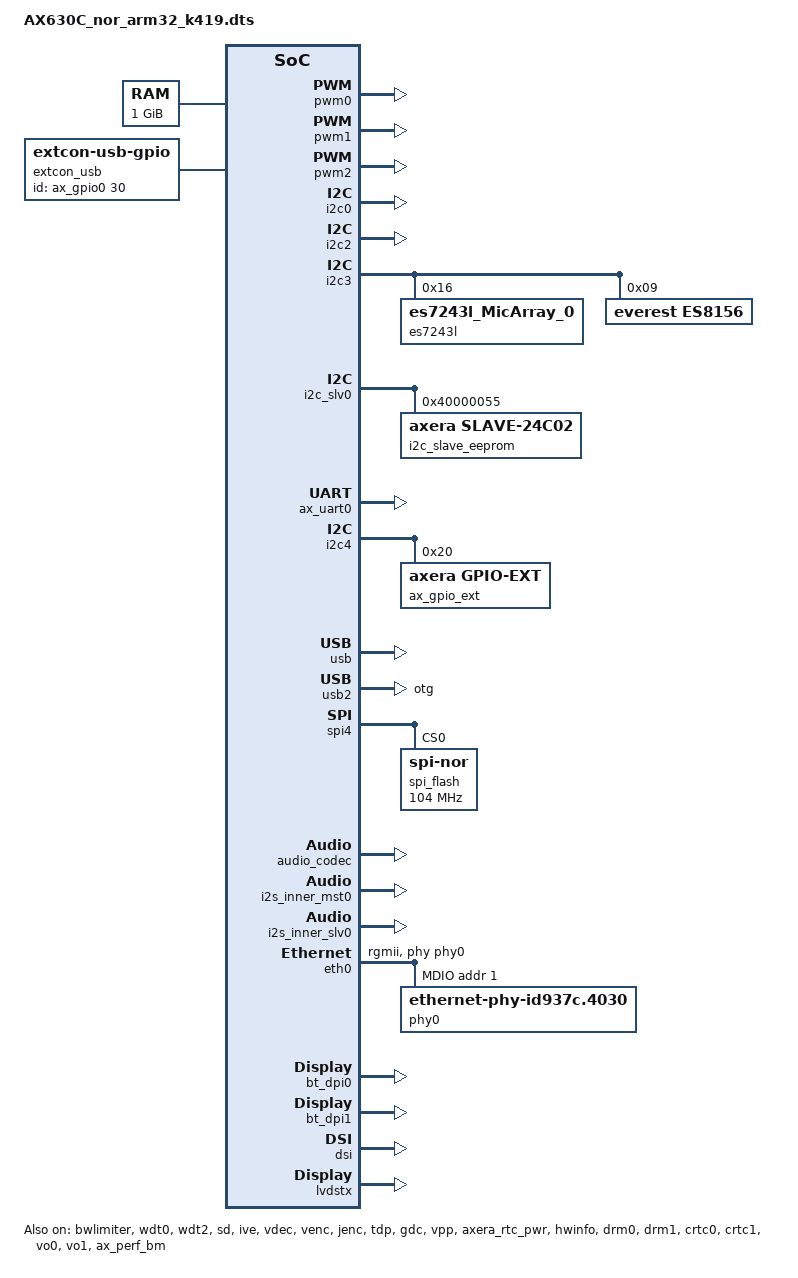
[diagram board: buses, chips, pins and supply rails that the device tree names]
// SPDX-License-Identifier: GPL-2.0
/**************************************************************************************************
 *
 * Copyright (c) 2019-2024 Axera Semiconductor Co., Ltd. All Rights Reserved.
 *
 * This dts file is the property of Axera Semiconductor Co., Ltd. and
 * may not be copied or distributed in any isomorphic form without the prior
 * written consent of Axera Semiconductor Co., Ltd.
 *
 **************************************************************************************************/

/dts-v1/;
#include "AX620E.dtsi"
/ {
	memory@40000000 {
		device_type = "memory";
		reg = <0x0 0x40000000 0x0 0x40000000>;
	};
	reserved-memory {
		#address-cells = <2>;
		#size-cells = <2>;
		ranges;
		ramoops_mem@48000000 {
			compatible = "ramoops";
			reg = <0x0 0x48000000 0x0 0xf0000>;
			record-size = <0x40000>;
			console-size = <0x80000>;
			ftrace-size = <0x20000>;
		};
		axera_memory_dump@0 {
			compatible = "axera_memory_dump";
			reg = <0x0 0x480f0000 0x0 0x3000>;
			dump_ranges = <0x0 0x40000000 0x0 0x80000000>;
			no-map;
		};
	#ifdef AX630C_DDR4_RETRAIN
	asdasd
		axera_ddr_retrain@0 {
			compatible = "axera_ddr_retrain";
			reg = <0x0 0x40000000 0x0 0x1000>;
		};
	#endif
	};

	chosen {
		bootargs = BOOTARGS;
	};

	sound {
		status = "okay";
		compatible = "simple-audio-card";
		simple-audio-card,name = "Axera Audio";
		simple-audio-card,widgets =
			"Microphone", "Mic Jack";
		simple-audio-card,routing =
			"AMIC", "Mic Jack";
		#address-cells = <1>;
		#size-cells = <0>;
	/*	simple-audio-card,dai-link@0 {
			format = "i2s";
			cpu {
				sound-dai = <&i2s_mst0>;
			};
			codec {
				sound-dai = <&es7243l>;
				system-clock-frequency = <12288000>;
			};
		};
		simple-audio-card,dai-link@1 {
			format = "i2s";
			cpu {
				sound-dai = <&i2s_mst0>;
			};
			codec {
				sound-dai = <&es8156>;
				system-clock-frequency = <12288000>;
			};
		};
		simple-audio-card,dai-link@0 {
			format = "i2s";
			bitclock-master = <&codec_m2>;
			frame-master = <&codec_m2>;
			cpu {
				sound-dai = <&i2s_slv0>;
			};
			codec_m2: codec {
				sound-dai = <&es7243l>;
				system-clock-frequency = <12288000>;
			};
		};
		simple-audio-card,dai-link@1 {
			format = "i2s";
			bitclock-master = <&codec_m3>;
			frame-master = <&codec_m3>;
			cpu {
				sound-dai = <&i2s_slv0>;
			};
			codec_m3: codec {
				sound-dai = <&es8156>;
				system-clock-frequency = <12288000>;
			};
		};
		simple-audio-card,dai-link@0 {
			format = "dsp_b";
			cpu {
				sound-dai = <&i2s_tdm_mst0>;
				dai-tdm-slot-num = <2>;
				dai-tdm-slot-width = <32>;
				dai-tdm-slot-rx-mask = <1 1>;
			};
			codec {
				sound-dai = <&es7243l>;
				system-clock-frequency = <12288000>;
			};
		};
		simple-audio-card,dai-link@0 {
			format = "dsp_b";
			bitclock-master = <&codec_m5>;
			frame-master = <&codec_m5>;
			cpu {
				sound-dai = <&i2s_tdm_slv0>;
				dai-tdm-slot-num = <2>;
				dai-tdm-slot-width = <32>;
				dai-tdm-slot-rx-mask = <1 1>;
			};
			codec_m5: codec {
				sound-dai = <&es7243l>;
				system-clock-frequency = <12288000>;
			};
		};*/
		simple-audio-card,dai-link@0 {
			format = "i2s";
			bitclock-master = <&codec_m6>;
			frame-master = <&codec_m6>;
			capture-only;
			cpu {
				sound-dai = <&i2s_inner_slv0>;
			};
			codec_m6: codec {
				sound-dai = <&audio_codec>;
				system-clock-frequency = <12288000>;
			};
		};
		simple-audio-card,dai-link@1 {
			format = "i2s";
			playback-only;
			cpu {
				sound-dai = <&i2s_inner_mst0>;
			};
			codec {
				sound-dai = <&audio_codec>;
				system-clock-frequency = <12288000>;
			};
		};
	};

	vfb0: vfb@0 {
		compatible = "axera,vfb";
		id = <0>;
		width = <1920>;
		height = <1080>;
		bpp = <32>;
		buf-num = <2>;
		status = "okay";
	};

	vfb1: vfb@1 {
		compatible = "axera,vfb";
		id = <1>;
		width = <1920>;
		height = <1080>;
		bpp = <32>;
		buf-num = <2>;
		status = "okay";
	};

	vfb2: vfb@2 {
		compatible = "axera,vfb";
		id = <2>;
		width = <64>;
		height = <64>;
		bpp = <32>;
		buf-num = <1>;
		cursor;
		status = "okay";
	};

	axera_logctl {
		compatible = "axera,logctl";
		config = "/etc/ax_syslog.conf";
		logstate = /bits/ 8 <1 1>;
		loglevel = /bits/ 8 <4 4>;
	};

	extcon_usb: extcon_usb {
		compatible = "linux,extcon-usb-gpio";
		id-gpio = <&ax_gpio0 30 0>; /* GPIO0_A30 */
		status = "okay";
	};

};

&pwm0 {
	status = "okay";
};

&pwm1 {
	status = "okay";
};

&pwm2 {
	status = "okay";
};

&deb_gpio_lp {
	lp-status = <11 1>; /* use db_gpio11 as wakeup source */
	status = "okay";
};

&bwlimiter {
	status = "okay";
};

&i2c0 {
	status = "okay";
};


&i2c2 {
	status = "okay";
};

&i2c3 {
	#address-cells = <0x1>;
	#size-cells = <0x0>;
	status = "okay";
	es7243l: es7243l@16 {
		compatible = "es7243l_MicArray_0";
		reg = <0x16>;
		#sound-dai-cells = <0>;
	};
	es8156: es8156@9 {
		compatible = "everest,es8156";
		reg = <0x9>;
		#sound-dai-cells = <0>;
	};
	tp2803: tp2803@45 {
		status = "disabled";
		compatible = "axera,tp2803";
		reg = <0x45>;
		reset-gpio = <&ax_gpio1 0 0>;
		panel-format = <PANEL_TP2803_BT656_720x576_PAL>;
	};
};

&i2c_slv0 {
	status = "okay";
	#address-cells = <0x1>;
	#size-cells = <0x0>;
	i2c_slave_eeprom: i2c_slave_eeprom@55 {
		compatible = "axera,slave-24c02";
		reg = <0x40000055>;
		status = "okay";
	};
};

&ax_uart0 {
	status = "okay";
};

&wdt0 {
	status = "okay";
};

&wdt2 {
	status = "okay";
};

&emmc {
	max-frequency = <200000000>;
	/*resets = <&sysclk>;*/
	sdhci-caps-mask = <0x2 0x03200000>;
	bus-width = <8>;
	no-sdio;
	no-sd;
	non-removable;
	disable-wp;
	cap-mmc-highspeed;
//	mmc-hs200-1_8v;
//	mmc-hs400-1_8v;
//	mmc-hs400-enhanced-strobe;
	cdns,phy-input-delay-sd-highspeed = <2>;
	cdns,phy-input-delay-legacy = <4>;
	cdns,phy-input-delay-sd-uhs-sdr12 = <1>;
	cdns,phy-input-delay-sd-uhs-sdr25 = <2>;
	cdns,phy-input-delay-sd-uhs-sdr50 = <1>;
	cdns,phy-input-delay-sd-uhs-ddr50 = <2>;
	cdns,phy-input-delay-mmc-legacy = <1>;
	cdns,phy-input-delay-mmc-highspeed = <2>;
	cdns,phy-input-delay-mmc-ddr = <2>;
	cdns,phy-dll-delay-sdclk = <45>;
	cdns,phy-dll-delay-sdclk-hsmmc = <23>;
	cdns,phy-dll-delay-strobe = <18>;
	fixed-emmc-driver-type = <4>;
	clocks = <&sysclk>;
	clock-names = "cardclk";
	status = "disabled";
};

&sd{
	sdhci-caps-mask = <0x7 0x00200000>;
	bus-width = <4>;
	max-frequency = <200000000>;
	cap-sd-highspeed;
	sd-uhs-sdr12;
	sd-uhs-sdr25;
	sd-uhs-sdr50;
	sd-uhs-ddr50;
	sd-uhs-sdr104;
	no-sdio;
	no-mmc;
	disable-wp;
#if 1
	broken-cd;
#else
	cd-gpios = <&ax_gpio1 11 0>;
	cd-inverted;
	cd-debounce-delay-ms = <300>;
#endif

	cdns,phy-input-delay-sd-highspeed = <2>;
	cdns,phy-input-delay-legacy = <3>;
	cdns,phy-input-delay-sd-uhs-sdr12 = <3>;
	cdns,phy-input-delay-sd-uhs-sdr25 = <2>;
	cdns,phy-input-delay-sd-uhs-sdr50 = <1>;
	cdns,phy-input-delay-sd-uhs-ddr50 = <1>;
	cdns,phy-dll-delay-sdclk = <0>;

	status = "okay";
};

&sdio{
	sdhci-caps-mask = <0x7 0x00200000>;
	bus-width = <4>;
	max-frequency = <200000000>;
	cap-sd-highspeed;
	sd-uhs-sdr25;
	sd-uhs-sdr12;
	sd-uhs-sdr50;
	sd-uhs-ddr50;
	//sd-uhs-sdr104;
	no-sd;
	no-mmc;
	disable-wp;
	vol-sw-gpio = <&ax_gpio0 17 0>;

	cdns,phy-input-delay-sd-highspeed = <2>;
	cdns,phy-input-delay-legacy = <3>;
	cdns,phy-input-delay-sd-uhs-sdr12 = <3>;
	cdns,phy-input-delay-sd-uhs-sdr25 = <2>;
	cdns,phy-input-delay-sd-uhs-sdr50 = <0>;
	cdns,phy-input-delay-sd-uhs-ddr50 = <0>;
	cdns,phy-dll-delay-sdclk = <0>;

	status = "disabled";
};

&i2c4 {
	#address-cells = <0x1>;
	#size-cells = <0x0>;
	status = "okay";
	ax_gpio_ext: gpio-axera@20 {
		compatible = "axera,gpio-ext";
		reg = <0x20>;
		gpio-controller;
		#gpio-cells = <2>;
		nr-gpios = <16>;
		status = "okay";
	};
	typec: sgm7220@47 {
		compatible = "axera,sgm7220";
		reg = <0x47>;
		int-gpio = <&ax_gpio1 9 0>;
		chanel-sel = <&ax_gpio0 30 0>;
		bind-usb = "8000000.dwc3";
		status = "disabled";
	};
};

&usb {
	status = "okay";
};

&usb2 {
	dr_mode = "otg";
	extcon = <&extcon_usb>;
};

&ax_gpio2 {
	status = "okay";
};

&spi0 {
       status = "disabled";
       spidev_user@0 {
               status = "okay";
               compatible = "axera,spidev";
               reg = <0>;
               spi-max-frequency = <26000000>;
       };
};

&spi1 {
       status = "disabled";
       spidev_user@0 {
               status = "okay";
               compatible = "axera,spidev";
               reg = <0>;
               spi-max-frequency = <26000000>;
       };
};

&spi2 {
       status = "disabled";
       spidev_user@0 {
               status = "okay";
               compatible = "axera,spidev";
               reg = <0>;
               spi-max-frequency = <26000000>;
       };
};

&spi_slv {
       status = "disabled";
       stream-tx-gpio = <&ax_gpio2 13 0>;
       stream-rx-gpio = <&ax_gpio2 14 0>;
};

&spi4 {
	status = "okay";
	spi_flash@0 {
		#address-cells = <1>;
		#size-cells = <1>;
		compatible = "jedec,spi-nor";
		reg = <0>;
		rx-sample-delay-ns = <6>;
		spi-max-frequency = <104000000>;
		spi-tx-bus-width = <4>;
		spi-rx-bus-width = <4>;
	};
};

&audio_codec {
	gpio-mic-rp = <&ax_gpio1 7 0>; /* GPIO1_A7 */
	gpio-mic-rn = <&ax_gpio1 6 0>; /* GPIO1_A6 */
	gpio-mic-ln = <&ax_gpio1 5 0>; /* GPIO1_A5 */
	gpio-mic-lp = <&ax_gpio1 4 0>; /* GPIO1_A4 */
	gpio-pa-speaker = <&ax_gpio_ext 2 0>;
	gpio-pa-lineout = <&ax_gpio_ext 15 0>;
	status = "okay";
};
&i2s_inner_mst0 {
	status = "okay";
	/*i2s - pad0*/
	i2s-m-aec-cycle-sel = <0>;    /*23-22*/
	i2s-m-aec-sclk-sel = <0>;     /*21*/
	i2s-inner-codec-en = <1>;     /*20*/
	i2s-exter-codec-en = <0>;     /*19*/
	i2s-m-exter-codec-en = <0>;   /*18*/
	i2s-exter-codec-mst = <0>;    /*17*/
	i2s-m-exter-codec-mst = <0>;  /*16*/
	iis-out-tdm-en = <0>;         /*15*/
	iis-m-out-tdm-en = <0>;       /*14*/
	i2s-m-rx0-sel = <0>;          /*13*/
	i2s-m-rx1-sel = <0>;          /*12-11*/
	i2s-s-rx0-sel = <0>;          /*10-9*/
	i2s-s-rx1-sel = <2>;          /*8-7*/
	i2s-s-sclk-sel = <0>;         /*6-5*/
	tdm-m-rx-sel = <0>;           /*4-3*/
	tdm-s-rx-sel = <0>;           /*2-1*/
	tdm-s-sclk-sel = <0>;         /*0*/
};

&i2s_inner_slv0 {
	status = "okay";
	/*i2s - pad0*/
	i2s-m-aec-cycle-sel = <0>;    /*23-22*/
	i2s-m-aec-sclk-sel = <0>;     /*21*/
	i2s-inner-codec-en = <1>;     /*20*/
	i2s-exter-codec-en = <0>;     /*19*/
	i2s-m-exter-codec-en = <0>;   /*18*/
	i2s-exter-codec-mst = <0>;    /*17*/
	i2s-m-exter-codec-mst = <0>;  /*16*/
	iis-out-tdm-en = <0>;         /*15*/
	iis-m-out-tdm-en = <0>;       /*14*/
	i2s-m-rx0-sel = <0>;          /*13*/
	i2s-m-rx1-sel = <0>;          /*12-11*/
	i2s-s-rx0-sel = <0>;          /*10-9*/
	i2s-s-rx1-sel = <2>;          /*8-7*/
	i2s-s-sclk-sel = <0>;         /*6-5*/
	tdm-m-rx-sel = <0>;           /*4-3*/
	tdm-s-rx-sel = <0>;           /*2-1*/
	tdm-s-sclk-sel = <0>;         /*0*/
};

&i2s_mst0 {
	status = "disabled";
	/*i2s - pad0*/
	i2s-m-aec-cycle-sel = <0>;    /*23-22*/
	i2s-m-aec-sclk-sel = <0>;     /*21*/
	i2s-inner-codec-en = <0>;     /*20*/
	i2s-exter-codec-en = <1>;     /*19*/
	i2s-m-exter-codec-en = <0>;   /*18*/
	i2s-exter-codec-mst = <1>;    /*17*/
	i2s-m-exter-codec-mst = <0>;  /*16*/
	iis-out-tdm-en = <0>;         /*15*/
	iis-m-out-tdm-en = <0>;       /*14*/
	i2s-m-rx0-sel = <0>;          /*13*/
	i2s-m-rx1-sel = <2>;          /*12-11*/
	i2s-s-rx0-sel = <0>;          /*10-9*/
	i2s-s-rx1-sel = <0>;          /*8-7*/
	i2s-s-sclk-sel = <0>;         /*6-5*/
	tdm-m-rx-sel = <0>;           /*4-3*/
	tdm-s-rx-sel = <0>;           /*2-1*/
	tdm-s-sclk-sel = <0>;         /*0*/
};

&i2s_slv0 {
	status = "disabled";
	/*i2s - pad0*/
	i2s-m-aec-cycle-sel = <0>;    /*23-22*/
	i2s-m-aec-sclk-sel = <0>;     /*21*/
	i2s-inner-codec-en = <0>;     /*20*/
	i2s-exter-codec-en = <1>;     /*19*/
	i2s-m-exter-codec-en = <0>;   /*18*/
	i2s-exter-codec-mst = <0>;    /*17*/
	i2s-m-exter-codec-mst = <0>;  /*16*/
	iis-out-tdm-en = <0>;         /*15*/
	iis-m-out-tdm-en = <0>;       /*14*/
	i2s-m-rx0-sel = <0>;          /*13*/
	i2s-m-rx1-sel = <0>;          /*12-11*/
	i2s-s-rx0-sel = <1>;          /*10-9*/
	i2s-s-rx1-sel = <3>;          /*8-7*/
	i2s-s-sclk-sel = <1>;         /*6-5*/
	tdm-m-rx-sel = <0>;           /*4-3*/
	tdm-s-rx-sel = <0>;           /*2-1*/
	tdm-s-sclk-sel = <0>;         /*0*/
};

&i2s_tdm_mst0 {
	status = "disabled";
	/*i2s - pad0*/
	i2s-m-aec-cycle-sel = <0>;    /*23-22*/
	i2s-m-aec-sclk-sel = <0>;     /*21*/
	i2s-inner-codec-en = <0>;     /*20*/
	i2s-exter-codec-en = <1>;     /*19*/
	i2s-m-exter-codec-en = <0>;   /*18*/
	i2s-exter-codec-mst = <1>;    /*17*/
	i2s-m-exter-codec-mst = <0>;  /*16*/
	iis-out-tdm-en = <1>;         /*15*/
	iis-m-out-tdm-en = <0>;       /*14*/
	i2s-m-rx0-sel = <0>;          /*13*/
	i2s-m-rx1-sel = <0>;          /*12-11*/
	i2s-s-rx0-sel = <0>;          /*10-9*/
	i2s-s-rx1-sel = <0>;          /*8-7*/
	i2s-s-sclk-sel = <0>;         /*6-5*/
	tdm-m-rx-sel = <0>;           /*4-3*/
	tdm-s-rx-sel = <0>;           /*2-1*/
	tdm-s-sclk-sel = <0>;         /*0*/
};

&i2s_tdm_slv0 {
	status = "disabled";
	/*i2s - pad0*/
	i2s-m-aec-cycle-sel = <0>;    /*23-22*/
	i2s-m-aec-sclk-sel = <0>;     /*21*/
	i2s-inner-codec-en = <0>;     /*20*/
	i2s-exter-codec-en = <1>;     /*19*/
	i2s-m-exter-codec-en = <0>;   /*18*/
	i2s-exter-codec-mst = <0>;    /*17*/
	i2s-m-exter-codec-mst = <0>;  /*16*/
	iis-out-tdm-en = <0>;         /*15*/
	iis-m-out-tdm-en = <0>;       /*14*/
	i2s-m-rx0-sel = <0>;          /*13*/
	i2s-m-rx1-sel = <0>;          /*12-11*/
	i2s-s-rx0-sel = <0>;          /*10-9*/
	i2s-s-rx1-sel = <0>;          /*8-7*/
	i2s-s-sclk-sel = <0>;         /*6-5*/
	tdm-m-rx-sel = <0>;           /*4-3*/
	tdm-s-rx-sel = <0>;           /*2-1*/
	tdm-s-sclk-sel = <0>;         /*0*/
};

#if 1
&eth0 {
	status = "okay";

	phy-handle = <&phy0>;
	phy-mode = "rgmii";
	phy-rst-gpio = <&ax_gpio1 27 0>; /* GPIO1_A27 */

	mdio {
		#address-cells = <1>;
		#size-cells = <0>;
		compatible = "snps,dwmac-mdio";
		phy0: jl2xxx-phy@1 {
			compatible = "ethernet-phy-id937c.4030";
			jl2xxx,led-enable = <JL2XXX_LED_CTRL_EN>;
			jl2xxx,led-mode = <JL2XXX_CFG_LED_MODE>;
			jl2xxx,led-period = <JL2XXX_GLOBAL_PERIOD_MS>;
			jl2xxx,led-on = <JL2XXX_GLOBAL_ON_MS>;
			jl2xxx,led-polarity = <JL2XXX_LED_POLARITY>;
			jl2xxx,patch-enable = <JL2XXX_PATCH_CTRL_EN>;
			jl2xxx,rgmii-enable = <JL2XXX_RGMII_CTRL_EN>;
			jl2xxx,rgmii-tx-delay = <JL2XXX_RGMII_TX_DLY_2NS>;
			jl2xxx,rgmii-rx-delay = <JL2XXX_RGMII_RX_DLY_2NS>;
			jl2xxx,clk-enable = <JL2XXX_CLK_CTRL_EN>;
			jl2xxx,fld-enable = <JL2XXX_FLD_CTRL_EN>;
			jl2xxx,fld-delay = <JL2XXX_FLD_DELAY>;
			jl2xxx,wol-enable = <JL2XXX_WOL_CTRL_EN>;
			jl2xxx,interrupt-enable = <JL2XXX_INTR_CTRL_EN>;
			jl2xxx,downshift-enable = <JL2XXX_DSFT_CTRL_EN>;
			jl2xxx,downshift-count = <JL2XXX_DSFT_AN_CNT>;
			jl2xxx,work_mode-enable = <JL2XXX_WORK_MODE_CTRL_EN>;
			jl2xxx,work_mode-mode = <JL2XXX_WOEK_MODE_MODE>;
			jl2xxx,lpbk-enable = <JL2XXX_LPBK_CTRL_EN>;
			jl2xxx,lpbk-mode = <JL2XXX_LPBK_MODE>;
			jl2xxx,slew_rate-enable = <JL2XXX_SLEW_RATE_CTRL_EN>;
			jl2xxx,rxc_out-enable = <JL2XXX_RXC_OUT_CTRL_EN>;
			reg = <1>;
		};
	};
};
#else
&eth0 {
	status = "okay";

	phy-handle = <&phy0>;
	phy-mode = "rmii";
	axera-ephy,led0-mode = <EPHY_LED_SPEED>;
	axera-ephy,led0-enable;
	axera-ephy,led1-mode = <EPHY_LED_LINK>;
	axera-ephy,led1-enable;
	axera-ephy,led-polarity = <EPHY_LED_LOW_ACTIVE>;
	mdio {
		#address-cells = <1>;
		#size-cells = <0>;
		compatible = "snps,dwmac-mdio";
		phy0: axera-ephy@1 {
			device_tpye = "ethernet-phy";
			compatible = "ethernet-phy-id0044.1400";
			reg = <1>;
		};
	};
};
#endif

&ddr_dfs {
       status = "disabled";
};

&ive {
	status = "okay";
};

&vdec {
	status = "okay";
};

&venc {
	status = "okay";
};

&jenc {
	status = "okay";
};

&tdp {
	status = "okay";
};

&gdc {
	status = "okay";
};

&vpp {
	status = "okay";
};

&axera_rtc_pwr {
        status = "okay";
};

&hwinfo {
	status = "okay";
};

&drm0 {
	status = "okay";
};

&drm1 {
	status = "okay";
};

&crtc0 {
	status = "okay";
};

&crtc1 {
	status = "okay";
};

&vo0 {
	status = "okay";
};

&vo1 {
	status = "okay";
};

&bt_dpi0 {
	status = "okay";
};

&bt_dpi1 {
	status = "okay";
};

&dsi {
	status = "okay";
};

&dma {
	status = "okay";
};

&dma_per {
	status = "okay";
};

&dmac {
	status = "disabled";
};

&ax_perf_bm {
	status = "okay";
};

&ax_firewall {
	status = "disabled";
};

&panel_dsi {
	status = "okay";
	prepare-delay-ms = <0>;
	unprepare-delay-ms = <0>;
	enable-delay-ms = <0>;
	disable-delay-ms = <150>;
	reset-gpio = <&ax_gpio1 0 0>;

	dsi,format = <MIPI_DSI_FMT_RGB888>;
	dsi,lanes = <4>;
	dsi,flags = <(MIPI_DSI_MODE_VIDEO_SYNC_PULSE | MIPI_DSI_MODE_VIDEO | MIPI_DSI_MODE_LPM |MIPI_DSI_CLOCK_NON_CONTINUOUS )>;
	panel-init-seq = [39 00 04 B9 FF 83 99
                          39 00 10 B1 02 04 6B 8B 01 32 33 11 11 53 01 56 73 02 02
                          39 00 0c B2 00 80 80 AE 05 07 5A 11 00 10 10
                          39 00 2d B4 00 FF 00 AC 00 9C 00 00 08 00 00 02 00 26 02 07 09 21 03 00 00 04 A4 88 00 AC 00 9C 00 00 08 00 00 02 00 24 02 07 09 00 00 04 A4 12
                          39 05 22 D3 00 00 00 00 00 00 00 00 32 10 05 00 05 00 00 00 00 00 00 00 00 00 00 01 00 07 07 03 00 00 00 05 40
                          39 05 21 D5 00 00 00 01 02 03 00 00 00 00 19 00 18 00 20 21 00 18 00 00 00 00 00 00 00 00 31 31 30 30 2F 2F
                          39 05 21 D6 40 40 03 02 01 00 40 40 40 40 18 40 19 40 21 20 40 18 40 40 40 40 40 40 40 40 31 31 30 30 2F 2F
                          39 00 11 D8 28 02 00 2A 28 02 C0 2A 00 00 00 00 00 00 00 00
                          15 00 02 BD 01
                          39 00 11 D8 00 00 00 00 00 00 00 00 28 2A 00 2A 28 02 C0 2A
                          15 00 02 BD 02
                          39 00 09 D8 28 2A 00 2A 28 02 C0 2A
                          15 00 02 BD 00
                          39 00 03 B6 8D 8D
                          39 00 37 E0 01 49 4F 45 87 8A 8F 84 88 8D 91 94 97 9B A1 A2 A4 AA AB B0 A2 AF AF 59 54 5E 6D 01 49 4F 45 87 8A 8F 84 88 8D 91 94 97 9B A1 A2 A4 AA AB B0 A2 AF AF 59 54 5E 6D
                          15 00 02 D2 33
                          39 00 03 B6 7D 7D
                          39 00 08 BF 40 41 50 09 1A 80 CD
                          15 00 02 CC 08
                          15 05 02 36 00
                          05 00 01 35
                          05 00 01 29
                          05 00 01 11];
	panel-exit-seq = [05 00 01 10];

	dsi-panel_esd_check_enable = /bits/ 8 <0>;
	dsi-panel-check-mode = /bits/ 8 <0>;
	dsi-panel-read-reg = /bits/ 8 <0x0A>;
	dsi-panel-read-length = /bits/ 8 <1>;
	dsi-panel-max-error-count = /bits/ 8 <3>;
	dsi-panel-status-value = /bits/ 8 <0x9D>;
	dsi-panel-check-interval-ms = <2000>;
};

&panel0 {
	status = "okay";
};

&panel1 {
	status = "okay";
};

&lvdstx {
	status = "okay";
};

&panel_lvds {
	status = "okay";
	data-mapping = "vesa-24";
};

&pinctrl_ax{
	/include/ "AX620E_pinctrl.dtsi"
};
